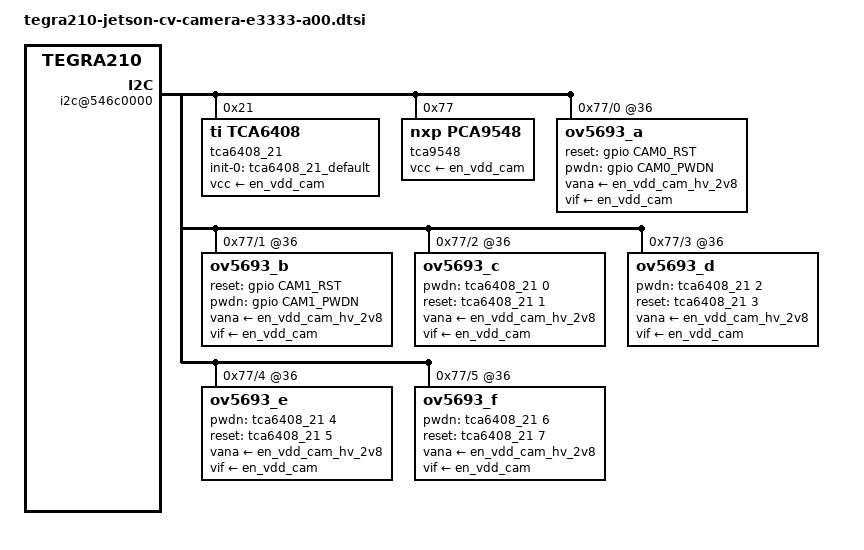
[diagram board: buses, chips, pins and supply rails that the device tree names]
/*
 * Copyright (c) 2015-2016, NVIDIA CORPORATION.  All rights reserved.
 *
 * This program is free software; you can redistribute it and/or modify
 * it under the terms of the GNU General Public License as published by
 * the Free Software Foundation; either version 2 of the License, or
 * (at your option) any later version.
 *
 * This program is distributed in the hope that it will be useful, but WITHOUT
 * ANY WARRANTY; without even the implied warranty of MERCHANTABILITY or
 * FITNESS FOR A PARTICULAR PURPOSE.  See the GNU General Public License for
 * more details.
 *
 * You should have received a copy of the GNU General Public License
 * along with this program.  If not, see <http://www.gnu.org/licenses/>.
 */

#include <tegra210-platforms/tegra210-camera-e3333-a00.dtsi>

#define CAM0_RST	TEGRA_GPIO(S, 4)
#define CAM1_RST	TEGRA_GPIO(S, 5)
#define CAM0_PWDN	TEGRA_GPIO(S, 7)
#define CAM1_PWDN	TEGRA_GPIO(T, 0)

/* camera control gpio definitions */
/ {
	gpio@6000d000 {
		camera_control {
			gpio-output-low = <
				CAM0_RST
				CAM1_RST
				CAM0_PWDN
				CAM1_PWDN
				>;
		};
	};

	aliases {
		gpio288 = &tca6408_21;	/* 288 = 272 + TCA9539_GPIO_NUM */
	};

	host1x {
		i2c@546c0000 {
			tca6408_21: tca6408@21 {
				compatible = "ti,tca6408";
				gpio-controller;
				#gpio-cells = <2>;
				reg = <0x21>;
				gpio-init-names = "default";
				gpio-init-0 = <&tca6408_21_default>;
				vcc-supply = <&en_vdd_cam>;
				tca6408_21_default: default {
					/*
					 * GPIO-0 : PWDN_CAM2
					 * GPIO-1 : RST_CAM2
					 * GPIO-2 : PWDN_CAM3
					 * GPIO-3 : RST_CAM3
					 * GPIO-4 : PWDN_CAM4
					 * GPIO-5 : RST_CAM4
					 * GPIO-6 : PWDN_CAM5
					 * GPIO-7 : RST_CAM5
					 */

					gpio-output-low = <0 1 2 3 4 5 6 7>;
				};
			};

			tca9548@77 {
				compatible = "nxp,pca9548";
				reg = <0x77>;
				#address-cells = <1>;
				#size-cells = <0>;
				vcc-supply = <&en_vdd_cam>;
				skip_mux_detect;
				force_bus_start = <T210_CAMERA_I2C_MUX_BUS(0)>;
				i2c@0 {
					reg = <0>;
					i2c-mux,deselect-on-exit;
					#address-cells = <1>;
					#size-cells = <0>;
				};
				i2c@1 {
					reg = <1>;
					i2c-mux,deselect-on-exit;
					#address-cells = <1>;
					#size-cells = <0>;
				};
				i2c@2 {
					reg = <2>;
					i2c-mux,deselect-on-exit;
					#address-cells = <1>;
					#size-cells = <0>;
				};
				i2c@3 {
					reg = <3>;
					i2c-mux,deselect-on-exit;
					#address-cells = <1>;
					#size-cells = <0>;
				};
				i2c@4 {
					reg = <4>;
					i2c-mux,deselect-on-exit;
					#address-cells = <1>;
					#size-cells = <0>;
				};
				i2c@5 {
					reg = <5>;
					i2c-mux,deselect-on-exit;
					#address-cells = <1>;
					#size-cells = <0>;
				};
			};
		};
	};
};

/{
	host1x {
		i2c@546c0000 {
			tca9548@77 {
				i2c@0 {
					ov5693_a@36 {
						mclk = "cam_mclk1";
						reset-gpios = <&gpio CAM0_RST GPIO_ACTIVE_HIGH>;
						pwdn-gpios = <&gpio CAM0_PWDN GPIO_ACTIVE_HIGH>;
						vana-supply = <&en_vdd_cam_hv_2v8>;
						vif-supply = <&en_vdd_cam>;
					};
				};
				i2c@1 {
					ov5693_b@36 {
						mclk = "cam_mclk1";
						reset-gpios = <&gpio CAM1_RST GPIO_ACTIVE_HIGH>;
						pwdn-gpios = <&gpio CAM1_PWDN GPIO_ACTIVE_HIGH>;
						vana-supply = <&en_vdd_cam_hv_2v8>;
						vif-supply = <&en_vdd_cam>;
					};
				};
				i2c@2 {
					ov5693_c@36 {
						mclk = "cam_mclk1";
						pwdn-gpios = <&tca6408_21 0 GPIO_ACTIVE_HIGH>;
						reset-gpios = <&tca6408_21 1 GPIO_ACTIVE_HIGH>;
						vana-supply = <&en_vdd_cam_hv_2v8>;
						vif-supply = <&en_vdd_cam>;
					};
				};
				i2c@3 {
					ov5693_d@36 {
						mclk = "cam_mclk1";
						pwdn-gpios = <&tca6408_21 2 GPIO_ACTIVE_HIGH>;
						reset-gpios = <&tca6408_21 3 GPIO_ACTIVE_HIGH>;
						vana-supply = <&en_vdd_cam_hv_2v8>;
						vif-supply = <&en_vdd_cam>;
					};
				};
				i2c@4 {
					ov5693_e@36 {
						mclk = "cam_mclk1";
						pwdn-gpios = <&tca6408_21 4 GPIO_ACTIVE_HIGH>;
						reset-gpios = <&tca6408_21 5 GPIO_ACTIVE_HIGH>;
						vana-supply = <&en_vdd_cam_hv_2v8>;
						vif-supply = <&en_vdd_cam>;
					};
				};
				i2c@5 {
					ov5693_f@36 {
						mclk = "cam_mclk1";
						pwdn-gpios = <&tca6408_21 6 GPIO_ACTIVE_HIGH>;
						reset-gpios = <&tca6408_21 7 GPIO_ACTIVE_HIGH>;
						vana-supply = <&en_vdd_cam_hv_2v8>;
						vif-supply = <&en_vdd_cam>;
					};
				};
			};
		};
	};
};
